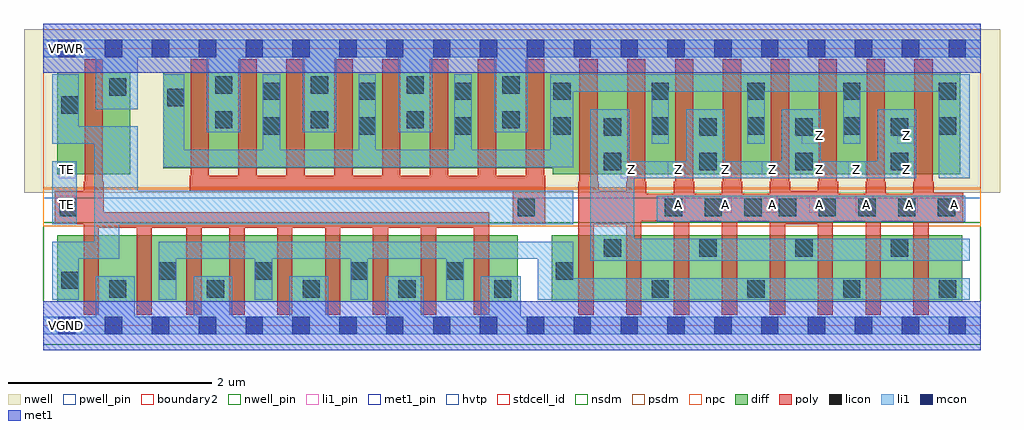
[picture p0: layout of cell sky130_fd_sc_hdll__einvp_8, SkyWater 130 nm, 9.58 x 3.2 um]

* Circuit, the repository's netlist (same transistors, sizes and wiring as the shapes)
* Copyright 2020 The SkyWater PDK Authors
*
* Licensed under the Apache License, Version 2.0 (the "License");
* you may not use this file except in compliance with the License.
* You may obtain a copy of the License at
*
*     https://www.apache.org/licenses/LICENSE-2.0
*
* Unless required by applicable law or agreed to in writing, software
* distributed under the License is distributed on an "AS IS" BASIS,
* WITHOUT WARRANTIES OR CONDITIONS OF ANY KIND, either express or implied.
* See the License for the specific language governing permissions and
* limitations under the License.
*
* SPDX-License-Identifier: Apache-2.0

.SUBCKT sky130_fd_sc_hdll__einvp_8 A TE VGND VNB VPB VPWR Z
*.PININFO A:I TE:I VGND:I VNB:I VPB:I VPWR:I Z:O
MMN0 Z A sndA VNB sky130_fd_pr__nfet_01v8 m=8 w=0.65U l=0.15U mult=1 sa=0.265 sb=0.265
+ sd=0.28 area=0.063 perim=1.14
MMN1 sndA TE VGND VNB sky130_fd_pr__nfet_01v8 m=8 w=0.65U l=0.15U mult=1 sa=0.265
+ sb=0.265 sd=0.28 area=0.063 perim=1.14
MMIN1 TEB TE VGND VNB sky130_fd_pr__nfet_01v8 m=1 w=0.65U l=0.15U mult=1 sa=0.265
+ sb=0.265 sd=0.28 area=0.063 perim=1.14
MMP0 VPWR TEB sndTEB VPB sky130_fd_pr__pfet_01v8_hvt m=8 w=0.94U l=0.18U mult=1
+ sa=0.265 sb=0.265 sd=0.28 area=0.063 perim=1.14
MMP1 sndTEB A Z VPB sky130_fd_pr__pfet_01v8_hvt m=8 w=1.0U l=0.18U mult=1 sa=0.265
+ sb=0.265 sd=0.28 area=0.063 perim=1.14
MMIP1 TEB TE VPWR VPB sky130_fd_pr__pfet_01v8_hvt m=1 w=1.0U l=0.18U mult=1 sa=0.265
+ sb=0.265 sd=0.28 area=0.063 perim=1.14
.ENDS sky130_fd_sc_hdll__einvp_8

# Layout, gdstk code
import gdstk
lib = gdstk.Library(unit=1e-6, precision=1e-09)
def R(c, l, rs):  # rectangles x0, y0, x1, y1
    for r in rs: c.add(gdstk.rectangle(r[:2], r[2:], *l))
def A(c, l, x, y, w, h, nx, ny, dx, dy):  # array of equal rectangles
    R(c, l, [(x+i*dx, y+j*dy, x+i*dx+w, y+j*dy+h) for i in range(nx) for j in range(ny)])
def P(c, l, *ps):  # polygons
    for p in ps: c.add(gdstk.Polygon(p, *l))
nwell_pin = (64, 16)
nwell = (64, 20)
diff = (65, 20)
poly = (66, 20)
licon = (66, 44)
li1_pin = (67, 16)
li1 = (67, 20)
mcon = (67, 44)
met1_pin = (68, 16)
met1 = (68, 20)
hvtp = (78, 44)
stdcell_id = (81, 4)
nsdm = (93, 44)
psdm = (94, 20)
npc = (95, 20)
pwell_pin = (122, 16)
boundary2 = (236, 0)

sky130_fd_sc_hdll__einvp = lib.new_cell('sky130_fd_sc_hdll__einvp_8')
R(sky130_fd_sc_hdll__einvp, nwell_pin, [(0.15,2.635,0.32,2.805)])
R(sky130_fd_sc_hdll__einvp, nwell, [(-0.19,1.305,9.39,2.91)])
R(sky130_fd_sc_hdll__einvp, diff, [(0.135,0.235,4.655,0.885), (4.99,0.235,9.02,0.885), (0.135,1.485,0.855,2.485)])
P(sky130_fd_sc_hdll__einvp, diff, [(9,2.485),(1.175,2.485),(1.175,1.545),(5,1.545),(5,1.485),(9,1.485)])
P(sky130_fd_sc_hdll__einvp, poly, [(4.375,1.11),(0.595,1.11),(0.595,1.41),(0.585,1.41),(0.585,2.615),(0.405,2.615),(0.405,1.41),(0.395,1.41),(0.395,1.325),(0.11,1.325),(0.11,0.995),(0.395,0.995),(0.395,0.105),(0.545,0.105),(0.545,0.96),(0.915,0.96),(0.915,0.105),(1.065,0.105),(1.065,0.96),(1.405,0.96),(1.405,0.105),(1.555,0.105),(1.555,0.96),(1.825,0.96),(1.825,0.105),(1.975,0.105),(1.975,0.96),(2.295,0.96),(2.295,0.105),(2.445,0.105),(2.445,0.96),(2.765,0.96),(2.765,0.105),(2.915,0.105),(2.915,0.96),(3.235,0.96),(3.235,0.105),(3.385,0.105),(3.385,0.96),(3.705,0.96),(3.705,0.105),(3.855,0.105),(3.855,0.96),(4.225,0.96),(4.225,0.105),(4.375,0.105)],
  [(4.925,1.47),(4.915,1.47),(4.915,2.615),(4.735,2.615),(4.735,1.47),(4.445,1.47),(4.445,2.615),(4.265,2.615),(4.265,1.47),(3.975,1.47),(3.975,2.615),(3.795,2.615),(3.795,1.47),(3.505,1.47),(3.505,2.615),(3.325,2.615),(3.325,1.47),(3.035,1.47),(3.035,2.615),(2.855,2.615),(2.855,1.47),(2.565,1.47),(2.565,2.615),(2.385,2.615),(2.385,1.47),(2.095,1.47),(2.095,2.615),(1.915,2.615),(1.915,1.47),(1.625,1.47),(1.625,2.615),(1.445,2.615),(1.445,1.47),(1.435,1.47),(1.435,1.32),(4.605,1.32),(4.605,0.995),(4.925,0.995)],
  [(9.03,1.305),(8.74,1.305),(8.74,1.41),(8.73,1.41),(8.73,2.615),(8.55,2.615),(8.55,1.41),(8.54,1.41),(8.54,1.295),(8.27,1.295),(8.27,1.41),(8.26,1.41),(8.26,2.615),(8.08,2.615),(8.08,1.41),(8.07,1.41),(8.07,1.295),(7.8,1.295),(7.8,1.41),(7.79,1.41),(7.79,2.615),(7.61,2.615),(7.61,1.41),(7.6,1.41),(7.6,1.325),(7.33,1.325),(7.33,1.41),(7.32,1.41),(7.32,2.615),(7.14,2.615),(7.14,1.41),(7.13,1.41),(7.13,1.295),(6.86,1.295),(6.86,1.41),(6.85,1.41),(6.85,2.615),(6.67,2.615),(6.67,1.41),(6.66,1.41),(6.66,1.295),(6.39,1.295),(6.39,1.41),(6.38,1.41),(6.38,2.615),(6.2,2.615),(6.2,1.41),(6.19,1.41),(6.19,1.295),(5.92,1.295),(5.92,1.41),(5.91,1.41),(5.91,2.615),(5.73,2.615),(5.73,1.41),(5.72,1.41),(5.72,1.325),(5.45,1.325),(5.45,1.41),(5.44,1.41),(5.44,2.615),(5.26,2.615),(5.26,1.41),(5.25,1.41),(5.25,0.105),(5.4,0.105),(5.4,0.995),(5.72,0.995),(5.72,0.105),(5.87,0.105),(5.87,1.025),(6.19,1.025),(6.19,0.105),(6.34,0.105),(6.34,1.025),(6.66,1.025),(6.66,0.105),(6.81,0.105),(6.81,1.025),(7.13,1.025),(7.13,0.105),(7.28,0.105),(7.28,0.995),(7.6,0.995),(7.6,0.105),(7.75,0.105),(7.75,1.025),(8.07,1.025),(8.07,0.105),(8.22,0.105),(8.22,1.025),(8.54,1.025),(8.54,0.105),(8.69,0.105),(8.69,1.015),(9.03,1.015)])
A(sky130_fd_sc_hdll__einvp, licon, 1.605, 0.275, 0.17, 0.17, 4, 1, 0.94, 0)
A(sky130_fd_sc_hdll__einvp, licon, 5.97, 0.275, 0.17, 0.17, 4, 2, 0.94, 1.6)
A(sky130_fd_sc_hdll__einvp, licon, 1.135, 0.45, 0.17, 0.17, 4, 1, 0.94, 0)
A(sky130_fd_sc_hdll__einvp, licon, 5.5, 0.675, 0.17, 0.17, 4, 2, 0.94, 0.85)
A(sky130_fd_sc_hdll__einvp, licon, 6.1, 1.075, 0.17, 0.17, 3, 1, 0.39, 0)
A(sky130_fd_sc_hdll__einvp, licon, 7.22, 1.075, 0.17, 0.17, 5, 1, 0.39, 0)
A(sky130_fd_sc_hdll__einvp, licon, 5.5, 1.865, 0.17, 0.17, 4, 1, 0.94, 0)
A(sky130_fd_sc_hdll__einvp, licon, 2.155, 1.875, 0.17, 0.17, 3, 2, 0.94, 0.34)
A(sky130_fd_sc_hdll__einvp, licon, 1.685, 1.935, 0.17, 0.17, 4, 2, 0.94, 0.34)
A(sky130_fd_sc_hdll__einvp, licon, 5.97, 2.215, 0.17, 0.17, 4, 1, 0.94, 0)
R(sky130_fd_sc_hdll__einvp, licon, [(0.645,0.275,0.815,0.445), (0.175,0.36,0.345,0.53), (5.03,0.45,5.2,0.62), (0.16,1.075,0.33,1.245), (4.655,1.075,4.825,1.245), (5.005,1.875,5.175,2.045), (0.175,2.08,0.345,2.25), (1.215,2.155,1.385,2.325), (5.005,2.215,5.175,2.385), (0.645,2.255,0.815,2.425)])
R(sky130_fd_sc_hdll__einvp, li1_pin, [(0.15,1.105,0.32,1.275), (6.13,1.105,6.3,1.275), (6.585,1.105,6.755,1.275), (7.035,1.105,7.205,1.275), (7.52,1.105,7.69,1.275), (7.975,1.105,8.145,1.275), (8.415,1.105,8.585,1.275), (8.84,1.105,9.01,1.275), (0.15,1.445,0.32,1.615), (5.665,1.445,5.835,1.615), (6.13,1.445,6.3,1.615), (6.58,1.445,6.75,1.615), (7.05,1.445,7.22,1.615), (7.43,1.445,7.6,1.615), (7.9,1.445,8.07,1.615), (8.38,1.445,8.55,1.615), (7.445,1.785,7.615,1.955), (8.38,1.785,8.55,1.955)])
R(sky130_fd_sc_hdll__einvp, li1, [(0.085,0.995,0.33,1.615), (6.02,1.02,9.05,1.275)])
P(sky130_fd_sc_hdll__einvp, li1, [(9.095,0.85),(5.8,0.85),(5.8,1.445),(8.57,1.445),(8.57,2.125),(8.19,2.125),(8.19,1.615),(7.63,1.615),(7.63,2.125),(7.25,2.125),(7.25,1.615),(6.69,1.615),(6.69,2.125),(6.31,2.125),(6.31,1.615),(5.75,1.615),(5.75,2.125),(5.37,2.125),(5.37,0.635),(9.095,0.635)],
  [(9.095,0.465),(5.2,0.465),(5.2,0.825),(1.135,0.825),(1.135,0.255),(1.305,0.255),(1.305,0.655),(2.075,0.655),(2.075,0.255),(2.245,0.255),(2.245,0.655),(3.015,0.655),(3.015,0.255),(3.185,0.255),(3.185,0.655),(3.955,0.655),(3.955,0.255),(4.125,0.255),(4.125,0.655),(4.855,0.655),(4.855,0.255),(9.095,0.255)],
  [(9.2,2.805),(0,2.805),(0,2.635),(0.515,2.635),(0.515,2.125),(0.925,2.125),(0.925,2.635),(1.605,2.635),(1.605,1.895),(1.935,1.895),(1.935,2.635),(2.545,2.635),(2.545,1.895),(2.875,1.895),(2.875,2.635),(3.485,2.635),(3.485,1.895),(3.815,1.895),(3.815,2.635),(4.425,2.635),(4.425,1.895),(4.755,1.895),(4.755,2.635),(9.2,2.635)],
  [(9.2,0.085),(4.685,0.085),(4.685,0.485),(4.295,0.485),(4.295,0.085),(3.735,0.085),(3.735,0.485),(3.355,0.485),(3.355,0.085),(2.795,0.085),(2.795,0.485),(2.415,0.485),(2.415,0.085),(1.855,0.085),(1.855,0.485),(1.475,0.485),(1.475,0.085),(0.895,0.085),(0.895,0.485),(0.515,0.485),(0.515,0.085),(0,0.085),(0,-0.085),(9.2,-0.085)],
  [(9.095,2.465),(4.975,2.465),(4.975,1.725),(4.205,1.725),(4.205,2.465),(4.035,2.465),(4.035,1.725),(3.265,1.725),(3.265,2.465),(3.095,2.465),(3.095,1.725),(2.325,1.725),(2.325,2.465),(2.155,2.465),(2.155,1.725),(1.385,1.725),(1.385,2.465),(1.175,2.465),(1.175,1.555),(5.2,1.555),(5.2,2.295),(5.97,2.295),(5.97,1.785),(6.14,1.785),(6.14,2.295),(6.91,2.295),(6.91,1.785),(7.08,1.785),(7.08,2.295),(7.85,2.295),(7.85,1.785),(8.02,1.785),(8.02,2.295),(8.79,2.295),(8.79,1.445),(9.095,1.445)],
  [(5.2,1.325),(0.925,1.325),(0.925,1.955),(0.345,1.955),(0.345,2.465),(0.085,2.465),(0.085,1.785),(0.5,1.785),(0.5,0.825),(0.085,0.825),(0.085,0.255),(0.345,0.255),(0.345,0.655),(0.745,0.655),(0.745,0.995),(5.2,0.995)])
A(sky130_fd_sc_hdll__einvp, mcon, 0.145, -0.085, 0.17, 0.17, 20, 2, 0.46, 2.72)
R(sky130_fd_sc_hdll__einvp, met1_pin, [(0.15,-0.085,0.32,0.085), (0.15,2.635,0.32,2.805)])
R(sky130_fd_sc_hdll__einvp, met1, [(0,-0.24,9.2,0.24), (0,2.48,9.2,2.96)])
R(sky130_fd_sc_hdll__einvp, hvtp, [(0,1.25,9.2,2.72)])
R(sky130_fd_sc_hdll__einvp, stdcell_id, [(0,0,9.2,2.72)])
R(sky130_fd_sc_hdll__einvp, nsdm, [(0,-0.19,9.2,1.015)])
R(sky130_fd_sc_hdll__einvp, psdm, [(0,1.355,9.2,2.91)])
R(sky130_fd_sc_hdll__einvp, npc, [(0,0.975,9.2,1.345)])
R(sky130_fd_sc_hdll__einvp, pwell_pin, [(0.15,-0.085,0.32,0.085)])
R(sky130_fd_sc_hdll__einvp, boundary2, [(0,0,9.2,2.72)])
sky130_fd_sc_hdll__einvp.add(gdstk.Label('A', (6.695,1.19), layer=67, texttype=5))
sky130_fd_sc_hdll__einvp.add(gdstk.Label('A', (6.235,1.19), layer=67, texttype=5))
sky130_fd_sc_hdll__einvp.add(gdstk.Label('A', (8.075,1.19), layer=67, texttype=5))
sky130_fd_sc_hdll__einvp.add(gdstk.Label('A', (7.615,1.19), layer=67, texttype=5))
sky130_fd_sc_hdll__einvp.add(gdstk.Label('A', (7.155,1.19), layer=67, texttype=5))
sky130_fd_sc_hdll__einvp.add(gdstk.Label('Z', (8.475,1.53), layer=67, texttype=5))
sky130_fd_sc_hdll__einvp.add(gdstk.Label('Z', (7.615,1.87), layer=67, texttype=5))
sky130_fd_sc_hdll__einvp.add(gdstk.Label('Z', (7.615,1.53), layer=67, texttype=5))
sky130_fd_sc_hdll__einvp.add(gdstk.Label('Z', (7.155,1.53), layer=67, texttype=5))
sky130_fd_sc_hdll__einvp.add(gdstk.Label('TE', (0.235,1.19), layer=67, texttype=5))
sky130_fd_sc_hdll__einvp.add(gdstk.Label('TE', (0.235,1.53), layer=67, texttype=5))
sky130_fd_sc_hdll__einvp.add(gdstk.Label('Z', (5.775,1.53), layer=67, texttype=5))
sky130_fd_sc_hdll__einvp.add(gdstk.Label('Z', (6.695,1.53), layer=67, texttype=5))
sky130_fd_sc_hdll__einvp.add(gdstk.Label('Z', (6.235,1.53), layer=67, texttype=5))
sky130_fd_sc_hdll__einvp.add(gdstk.Label('A', (8.5,1.19), layer=67, texttype=5))
sky130_fd_sc_hdll__einvp.add(gdstk.Label('A', (8.94,1.19), layer=67, texttype=5))
sky130_fd_sc_hdll__einvp.add(gdstk.Label('Z', (8.475,1.87), layer=67, texttype=5))
sky130_fd_sc_hdll__einvp.add(gdstk.Label('Z', (7.985,1.53), layer=67, texttype=5))
sky130_fd_sc_hdll__einvp.add(gdstk.Label('VPWR', (0.23,2.72), layer=68, texttype=5))
sky130_fd_sc_hdll__einvp.add(gdstk.Label('VGND', (0.23,0), layer=68, texttype=5))
sky130_fd_sc_hdll__einvp.add(gdstk.Label('VPB', (0.23,2.72), layer=64, texttype=5))
sky130_fd_sc_hdll__einvp.add(gdstk.Label('VNB', (0.23,0), layer=64, texttype=59))

lib.write_gds('sky130_fd_sc_hdll__einvp_8.gds')
